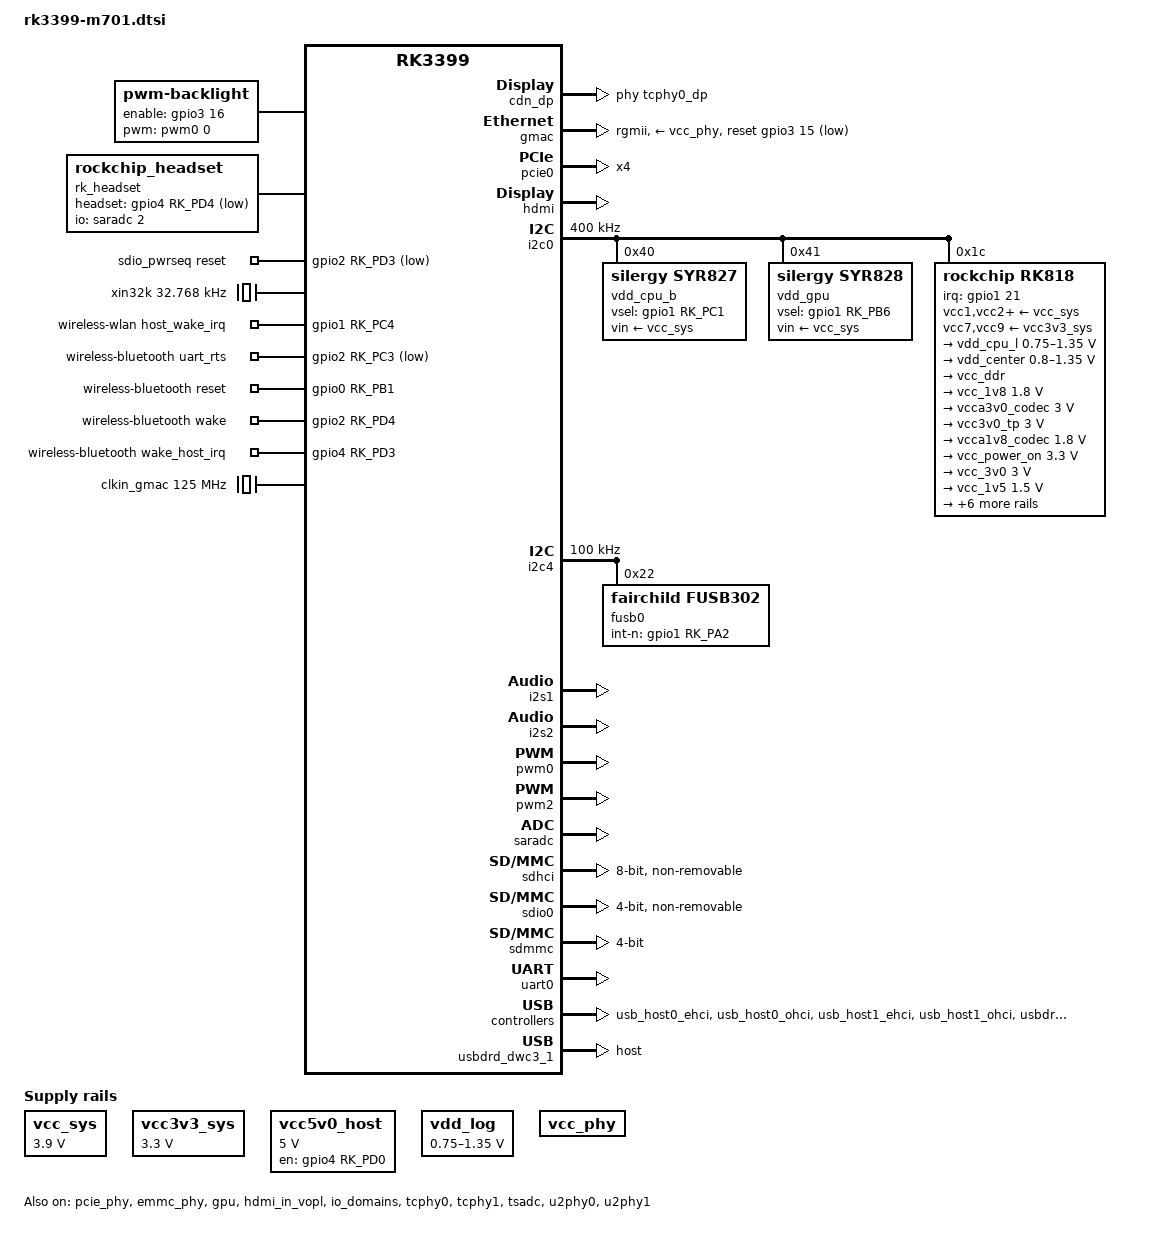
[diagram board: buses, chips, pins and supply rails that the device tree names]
/*
 * Copyright (c) 2018 Fuzhou Rockchip Electronics Co., Ltd
 *
 * SPDX-License-Identifier: (GPL-2.0+ OR MIT)
 */

/dts-v1/;
#include <dt-bindings/pwm/pwm.h>
#include <dt-bindings/sensor-dev.h>
#include "rk3399.dtsi"
#include "rk3399-android.dtsi"
#include "rk3399-opp.dtsi"
#include "rk3399-vop-clk-set.dtsi"
//#include "screen-timing/panel-edp1920x1080.dtsi"
#include "screen-timing/panel-toshiba-duallvds-1920x1080.dtsi"

/ {
	backlight: backlight {
		compatible = "pwm-backlight";
		pwms = <&pwm0 0 25000 0>;
		brightness-levels = <
			  0  20  20  21  21  22  22  23
			 23  24  24  25  25  26  26  27
			 27  28  28  29  29  30  30  31
			 31  32  32  33  33  34  34  35
			 35  36  36  37  37  38  38  39
			 40  41  42  43  44  45  46  47
			 48  49  50  51  52  53  54  55
			 56  57  58  59  60  61  62  63
			 64  65  66  67  68  69  70  71
			 72  73  74  75  76  77  78  79
			 80  81  82  83  84  85  86  87
			 88  89  90  91  92  93  94  95
			 96  97  98  99 100 101 102 103
			104 105 106 107 108 109 110 111
			112 113 114 115 116 117 118 119
			120 121 122 123 124 125 126 127
			128 129 130 131 132 133 134 135
			136 137 138 139 140 141 142 143
			144 145 146 147 148 149 150 151
			152 153 154 155 156 157 158 159
			160 161 162 163 164 165 166 167
			168 169 170 171 172 173 174 175
			176 177 178 179 180 181 182 183
			184 185 186 187 188 189 190 191
			192 193 194 195 196 197 198 199
			200 201 202 203 204 205 206 207
			208 209 210 211 212 213 214 215
			216 217 218 219 220 221 222 223
			224 225 226 227 228 229 230 231
			232 233 234 235 236 237 238 239
			240 241 242 243 244 245 246 247
			248 249 250 251 252 253 254 255
		>;
		default-brightness-level = <128>;
		enable-gpios = <&gpio3 16 GPIO_ACTIVE_HIGH>;
	};

	rk_headset {
		compatible = "rockchip_headset";
		headset_gpio = <&gpio4 RK_PD4 GPIO_ACTIVE_LOW>;
		pinctrl-names = "default";
		pinctrl-0 = <&hp_det>;
		io-channels = <&saradc 2>;
	};

	sdio_pwrseq: sdio-pwrseq {
		compatible = "mmc-pwrseq-simple";
		clocks = <&rk818 1>;
		clock-names = "ext_clock";
		pinctrl-names = "default";
		pinctrl-0 = <&wifi_enable_h>;

		/*
		 * On the module itself this is one of these (depending
		 * on the actual card populated):
		 * - SDIO_RESET_L_WL_REG_ON
		 * - PDN (power down when low)
		 */
		reset-gpios = <&gpio2 RK_PD3 GPIO_ACTIVE_LOW>;
	};

	vcc_sys: vcc-sys {
		compatible = "regulator-fixed";
		regulator-name = "vcc_sys";
		regulator-always-on;
		regulator-boot-on;
		regulator-min-microvolt = <3900000>;
		regulator-max-microvolt = <3900000>;
	};

	vcc3v3_sys: vcc3v3-sys {
		compatible = "regulator-fixed";
		regulator-name = "vcc3v3_sys";
		regulator-always-on;
		regulator-boot-on;
		regulator-min-microvolt = <3300000>;
		regulator-max-microvolt = <3300000>;
	};

	vcc5v0_host: vcc5v0-host-regulator {
		compatible = "regulator-fixed";
		gpio = <&gpio4 RK_PD0 GPIO_ACTIVE_LOW>;
		pinctrl-names = "default";
		pinctrl-0 = <&host_vbus_drv>;
		regulator-name = "vcc5v0_host";
		regulator-min-microvolt = <5000000>;
		regulator-max-microvolt = <5000000>;
		regulator-always-on;
		enable-active-high;
	};

	vdd_log: vdd-log {
		compatible = "pwm-regulator";
		pwms = <&pwm2 0 25000 1>;
		rockchip,pwm_id= <2>;
		rockchip,pwm_voltage = <900000>;
		regulator-name = "vdd_log";
		regulator-min-microvolt = <750000>;
		regulator-max-microvolt = <1350000>;
		regulator-always-on;
		regulator-boot-on;
	};

	vcc_phy: vcc-phy-regulator {
                compatible = "regulator-fixed";
                regulator-name = "vcc_phy";
                regulator-always-on;
                regulator-boot-on;
        };

	xin32k: xin32k {
		compatible = "fixed-clock";
		clock-frequency = <32768>;
		clock-output-names = "xin32k";
		#clock-cells = <0>;
	};

	wireless-wlan {
		compatible = "wlan-platdata";
		rockchip,grf = <&grf>;
		wifi_chip_type = "ap6255";
		sdio_vref = <1800>;
		WIFI,host_wake_irq = <&gpio1 RK_PC4 GPIO_ACTIVE_HIGH>;
		status = "okay";
	};

	wireless-bluetooth {
		compatible = "bluetooth-platdata";
		clocks = <&rk818 1>;
		clock-names = "ext_clock";
		uart_rts_gpios = <&gpio2 RK_PC3 GPIO_ACTIVE_LOW>;
		pinctrl-names = "default", "rts_gpio";
		pinctrl-0 = <&uart0_rts>;
		pinctrl-1 = <&uart0_gpios>;
		BT,reset_gpio    = <&gpio0 RK_PB1 GPIO_ACTIVE_HIGH>;
		BT,wake_gpio     = <&gpio2 RK_PD4 GPIO_ACTIVE_HIGH>;
		BT,wake_host_irq = <&gpio4 RK_PD3 GPIO_ACTIVE_HIGH>;
		status = "okay";
	};

	clkin_gmac: external-gmac-clock {
                compatible = "fixed-clock";
                clock-frequency = <125000000>;
                clock-output-names = "clkin_gmac";
                #clock-cells = <0>;
        };
};

&cdn_dp {
	status = "okay";
	extcon = <&fusb0>;
	phys = <&tcphy0_dp>;
};

&cpu_l0 {
	cpu-supply = <&vdd_cpu_l>;
};

&cpu_l1 {
	cpu-supply = <&vdd_cpu_l>;
};

&cpu_l2 {
	cpu-supply = <&vdd_cpu_l>;
};

&cpu_l3 {
	cpu-supply = <&vdd_cpu_l>;
};

&cpu_b0 {
	cpu-supply = <&vdd_cpu_b>;
};

&cpu_b1 {
	cpu-supply = <&vdd_cpu_b>;
};

&gmac {
        phy-supply = <&vcc_phy>;
        phy-mode = "rgmii";
        clock_in_out = "input";
        snps,reset-gpio = <&gpio3 15 GPIO_ACTIVE_LOW>;
        snps,reset-active-low;
        snps,reset-delays-us = <0 10000 50000>;
        assigned-clocks = <&cru SCLK_RMII_SRC>;
        assigned-clock-parents = <&clkin_gmac>;
        pinctrl-names = "default";
        pinctrl-0 = <&rgmii_pins>;
        tx_delay = <0x28>;
        rx_delay = <0x11>;
        status = "okay";
};

&pcie_phy {
        status = "okay";
};

&pcie0 {
        ep-gpios = <&gpio3 RK_PB2 GPIO_ACTIVE_HIGH>;
        num-lanes = <4>;
        pinctrl-names = "default";
        pinctrl-0 = <&pcie_clkreqn>;
        status = "okay";
};

&dp_in_vopb {
	status = "disabled";
};

&emmc_phy {
	status = "okay";
};

&gpu {
	status = "okay";
	mali-supply = <&vdd_gpu>;
};

&hdmi {
	status = "okay";
};


&hdmi_in_vopb {
	status = "disabled";
};

&hdmi_in_vopl {
        status = "okay";
};

&i2c0 {
	status = "okay";
	i2c-scl-rising-time-ns = <180>;
	i2c-scl-falling-time-ns = <30>;
	clock-frequency = <400000>;

	vdd_cpu_b: syr837@40 {
		compatible = "silergy,syr827";
		reg = <0x40>;
		vin-supply = <&vcc_sys>;
		regulator-compatible = "fan53555-reg";
		pinctrl-0 = <&vsel1_gpio>;
		vsel-gpios = <&gpio1 RK_PC1 GPIO_ACTIVE_HIGH>;
		regulator-name = "vdd_cpu_b";
		regulator-min-microvolt = <712500>;
		regulator-max-microvolt = <1500000>;
		regulator-ramp-delay = <1000>;
		fcs,suspend-voltage-selector = <1>;
		regulator-always-on;
		regulator-initial-state = <3>;
		regulator-state-mem {
			regulator-off-in-suspend;
		};
	};

	vdd_gpu: syr828@41 {
		compatible = "silergy,syr828";
		status = "okay";
		reg = <0x41>;
		vin-supply = <&vcc_sys>;
		regulator-compatible = "fan53555-reg";
		pinctrl-0 = <&vsel2_gpio>;
		vsel-gpios = <&gpio1 RK_PB6 GPIO_ACTIVE_HIGH>;
		regulator-name = "vdd_gpu";
		regulator-min-microvolt = <735000>;
		regulator-max-microvolt = <1400000>;
		regulator-ramp-delay = <1000>;
		fcs,suspend-voltage-selector = <1>;
		regulator-always-on;
		regulator-boot-on;
		regulator-state-mem {
			regulator-off-in-suspend;
		};
	};

rk818: pmic@1c {
		compatible = "rockchip,rk818";
		status = "okay";
		reg = <0x1c>;
		clock-output-names = "rk818-clkout1", "wifibt_32kin";
		interrupt-parent = <&gpio1>;
		interrupts = <21 IRQ_TYPE_LEVEL_LOW>;
		pinctrl-names = "default";
		pinctrl-0 = <&pmic_int_l>;
		rockchip,system-power-controller;
		rk818,support_dc_chg = <0>;/*1: dc chg; 0:usb chg*/
		wakeup-source;
		extcon = <&fusb0>;
		#clock-cells = <1>;

		vcc1-supply = <&vcc_sys>;
		vcc2-supply = <&vcc_sys>;
		vcc3-supply = <&vcc_sys>;
		vcc4-supply = <&vcc_sys>;
		vcc6-supply = <&vcc_sys>;
		vcc7-supply = <&vcc3v3_sys>;
		vcc8-supply = <&vcc_sys>;
		vcc9-supply = <&vcc3v3_sys>;

		regulators {
			vdd_cpu_l: DCDC_REG1 {
				regulator-name = "vdd_cpu_l";
				regulator-always-on;
				regulator-boot-on;
				regulator-min-microvolt = <750000>;
				regulator-max-microvolt = <1350000>;
				regulator-ramp-delay = <6001>;
				regulator-state-mem {
					regulator-off-in-suspend;
				};
			};

			vdd_center: DCDC_REG2 {
				regulator-name = "vdd_center";
				regulator-always-on;
				regulator-boot-on;
				regulator-min-microvolt = <800000>;
				regulator-max-microvolt = <1350000>;
				regulator-ramp-delay = <6001>;
				regulator-state-mem {
					regulator-off-in-suspend;
				};
			};

			vcc_ddr: DCDC_REG3 {
				regulator-name = "vcc_ddr";
				regulator-always-on;
				regulator-boot-on;
				regulator-state-mem {
					regulator-on-in-suspend;
				};
			};

			vcc_1v8: DCDC_REG4 {
				regulator-name = "vcc_1v8";
				regulator-always-on;
				regulator-boot-on;
				regulator-min-microvolt = <1800000>;
				regulator-max-microvolt = <1800000>;
				regulator-state-mem {
					regulator-on-in-suspend;
					regulator-suspend-microvolt = <1800000>;
				};
			};

			vcca3v0_codec: LDO_REG1 {
				regulator-always-on;
				regulator-boot-on;
				regulator-min-microvolt = <3000000>;
				regulator-max-microvolt = <3000000>;
				regulator-name = "vcca3v0_codec";
				regulator-state-mem {
					regulator-on-in-suspend;
					regulator-suspend-microvolt = <3000000>;
				};
			};

			vcc3v0_tp: LDO_REG2 {
				regulator-always-on;
				regulator-boot-on;
				regulator-min-microvolt = <3000000>;
				regulator-max-microvolt = <3000000>;
				regulator-name = "vcc3v0_tp";
				regulator-state-mem {
					regulator-on-in-suspend;
					regulator-suspend-microvolt = <3000000>;
				};
			};

			vcca1v8_codec: LDO_REG3 {
				regulator-always-on;
				regulator-boot-on;
				regulator-min-microvolt = <1800000>;
				regulator-max-microvolt = <1800000>;
				regulator-name = "vcca1v8_codec";
				regulator-state-mem {
					regulator-on-in-suspend;
					regulator-suspend-microvolt = <1800000>;
				};
			};

			vcc_power_on: LDO_REG4 {
				regulator-always-on;
				regulator-boot-on;
				regulator-min-microvolt = <3300000>;
				regulator-max-microvolt = <3300000>;
				regulator-name = "vcc_power_on";
				regulator-state-mem {
					regulator-on-in-suspend;
					regulator-suspend-microvolt = <3300000>;
				};
			};

			vcc_3v0: LDO_REG5 {
				regulator-always-on;
				regulator-boot-on;
				regulator-min-microvolt = <3000000>;
				regulator-max-microvolt = <3000000>;
				regulator-name = "vcc_3v0";
				regulator-state-mem {
					regulator-on-in-suspend;
					regulator-suspend-microvolt = <3000000>;
				};
			};

			vcc_1v5: LDO_REG6 {
				regulator-always-on;
				regulator-boot-on;
				regulator-min-microvolt = <1500000>;
				regulator-max-microvolt = <1500000>;
				regulator-name = "vcc_1v5";
				regulator-state-mem {
					regulator-on-in-suspend;
					regulator-suspend-microvolt = <1500000>;
				};
			};

			vcc1v8_dvp: LDO_REG7 {
				regulator-always-on;
				regulator-boot-on;
				regulator-min-microvolt = <1800000>;
				regulator-max-microvolt = <1800000>;
				regulator-name = "vcc1v8_dvp";
				regulator-state-mem {
					regulator-on-in-suspend;
					regulator-suspend-microvolt = <1800000>;
				};
			};

			vcc3v3_s3: LDO_REG8 {
				regulator-always-on;
				regulator-boot-on;
				regulator-min-microvolt = <3300000>;
				regulator-max-microvolt = <3300000>;
				regulator-name = "vcc3v3_s3";
				regulator-state-mem {
					regulator-on-in-suspend;
					regulator-suspend-microvolt = <3300000>;
				};
			};

			vcc_sd: LDO_REG9 {
				regulator-always-on;
				regulator-boot-on;
				regulator-min-microvolt = <1800000>;
				regulator-max-microvolt = <3000000>;
				regulator-name = "vcc_sd";
				regulator-state-mem {
					regulator-on-in-suspend;
					regulator-suspend-microvolt = <3000000>;
				};
			};

			vcc3v3_s0: SWITCH_REG {
				regulator-always-on;
				regulator-boot-on;
				regulator-name = "vcc3v3_s0";
				regulator-state-mem {
					regulator-on-in-suspend;
				};
			};

			boost_otg: DCDC_BOOST {
				regulator-name = "boost_otg";
				regulator-always-on;
				regulator-boot-on;
				regulator-min-microvolt = <5000000>;
				regulator-max-microvolt = <5000000>;
				regulator-state-mem {
					regulator-on-in-suspend;
					regulator-suspend-microvolt = <5000000>;
				};
			};

			otg_switch: OTG_SWITCH {
				regulator-name = "otg_switch";
			};
		};

		battery {
			compatible = "rk818-battery";
			ocv_table = <3400 3647 3681 3697 3724 3740 3755 3771 3784 3797 3812 3830 3852 3882 3931 3967 3994 4050 4085 4130 4178 >;
			design_capacity = <8744>;
			design_qmax = <9500>;
			bat_res = <30>;
			max_input_current = <3000>;
			max_chrg_current = <3000>;
			max_chrg_voltage = <4350>;
			sleep_enter_current = <300>;
			sleep_exit_current = <300>;
			power_off_thresd = <3200>;
			zero_algorithm_vol = <3950>;
			fb_temperature = <105>;
			sample_res = <10>;
			max_soc_offset = <60>;
			energy_mode = <0>;
			monitor_sec = <5>;
			virtual_power = <0>;
			power_dc2otg = <0>;
			pinctrl-names = "default";
                	pinctrl-0 = <&chg_red>;
                	pinctrl-1 = <&chg_green>;
                	chg_red_gpio = <&gpio0 8 GPIO_ACTIVE_LOW>;
                	chg_green_gpio = <&gpio0 13 GPIO_ACTIVE_LOW>;
			sys-bat = <&gpio0 6 GPIO_ACTIVE_HIGH>;
		};
	};
};

&i2c4 {
	status = "okay";
	i2c-scl-rising-time-ns = <345>;
	i2c-scl-falling-time-ns = <11>;
	clock-frequency = <100000>;

	fusb0: fusb30x@22 {
		compatible = "fairchild,fusb302";
		reg = <0x22>;
		pinctrl-names = "default";
		pinctrl-0 = <&fusb0_int>;
		//vbus-5v-gpios = <&gpio0 RK_PA6 GPIO_ACTIVE_HIGH>;
		int-n-gpios = <&gpio1 RK_PA2 GPIO_ACTIVE_HIGH>;
		//discharge-gpios = <&gpio0 RK_PB4 GPIO_ACTIVE_HIGH>;
		//charge-dev = <&bq25700>;
		//support-uboot-charge = <1>;
		//port-num = <0>;
		status = "okay";
	};
};

&i2s1 {
	status = "okay";
	rockchip,i2s-broken-burst-len;
	rockchip,playback-channels = <8>;
	rockchip,capture-channels = <8>;
	#sound-dai-cells = <0>;
};
&i2s2 {
	#sound-dai-cells = <0>;
	status = "okay";
};

&io_domains {
	status = "okay";
	bt656-supply = <&vcc1v8_dvp>;
	audio-supply = <&vcca1v8_codec>;
	sdmmc-supply = <&vcc_sd>;
	gpio1830-supply = <&vcc_3v0>;
};

&isp0_mmu {
	status = "okay";
};

&isp1_mmu {
	status = "okay";
};

&pinctrl {

	charger {
		charger_ok: charge-ok {
			rockchip,pins =
				<1 RK_PC7 RK_FUNC_GPIO &pcfg_pull_up>;
		};
	};

	fusb30x {
		fusb0_int: fusb0-int {
			rockchip,pins =
				<1 RK_PA2 RK_FUNC_GPIO &pcfg_pull_up>,
				<0 RK_PA6 RK_FUNC_GPIO &pcfg_pull_up>;
			};
	};

	headphone {
		hp_det: hp-det {
			rockchip,pins = <4 RK_PD4 RK_FUNC_GPIO &pcfg_pull_up>;
		};
	};

	kxtj2 {
		kxtj2_irq_gpio: kxtj2-irq-gpio {
			rockchip,pins = <1 RK_PC6 RK_FUNC_GPIO &pcfg_pull_none>;
		};
	};

	lcd_rst {
		lcd_rst_gpio: lcd-rst-gpio {
			rockchip,pins = <4 29 RK_FUNC_GPIO &pcfg_pull_up_20ma>;
		};
		lcd_ena_gpio: lcd-ena-gpio {
			rockchip,pins = <2 27 RK_FUNC_GPIO &pcfg_pull_none>;
		};
	};

	pmic {
		pmic_int_l: pmic-int-l {
			rockchip,pins =
				<1 RK_PC5 RK_FUNC_GPIO &pcfg_pull_up>;
		};
		vsel1_gpio: vsel1-gpio {
			rockchip,pins =
				<1 RK_PC1 RK_FUNC_GPIO &pcfg_pull_down>;
		};
		vsel2_gpio: vsel2-gpio {
			rockchip,pins =
				<1 RK_PB6 RK_FUNC_GPIO &pcfg_pull_down>;
		};
	};

	sdio-pwrseq {
		wifi_enable_h: wifi-enable-h {
			rockchip,pins = <2 RK_PD3 RK_FUNC_GPIO &pcfg_pull_none>;
		};
	};

	tp_irq {
		tp_irq_gpio: tp-irq-gpio {
			rockchip,pins = <4 22 RK_FUNC_GPIO &pcfg_pull_up>;
		};


		tp_rst_gpio: tp-rst-gpio {
			rockchip,pins = <4 21 RK_FUNC_GPIO &pcfg_pull_up>;
		};
	};

	usb2 {
		host_vbus_drv: host-vbus-drv {
			rockchip,pins =
				<4 RK_PD0 RK_FUNC_GPIO &pcfg_pull_none>;
		};
	};

	wireless-bluetooth {
		uart0_gpios: uart0-gpios {
			rockchip,pins = <2 RK_PC3 RK_FUNC_GPIO &pcfg_pull_none>;
		};
	};
};

&pmu_io_domains {
	status = "okay";
	pmu1830-supply = <&vcc_1v8>;
};

&pwm0 {
	status = "okay";
};

&pwm2 {
	status = "okay";
};

&rockchip_suspend {
	status = "okay";
	rockchip,sleep-debug-en = <1>;
	rockchip,sleep-mode-config = <
		(0
		| RKPM_SLP_ARMPD
		| RKPM_SLP_PERILPPD
		| RKPM_SLP_DDR_RET
		| RKPM_SLP_PLLPD
		| RKPM_SLP_CENTER_PD
		| RKPM_SLP_OSC_DIS
		| RKPM_SLP_AP_PWROFF
		)
	>;
	rockchip,wakeup-config = <
		(0
		| RKPM_GPIO_WKUP_EN
		)
	>;
	rockchip,pwm-regulator-config = <
		(0
		| PWM2_REGULATOR_EN
		)
	>;
	rockchip,power-ctrl =
		<&gpio1 RK_PC1 GPIO_ACTIVE_HIGH>,
		<&gpio1 RK_PB6 GPIO_ACTIVE_HIGH>;
};

&saradc {
	status = "okay";
};

&sdhci {
	bus-width = <8>;
	mmc-hs400-1_8v;
	supports-emmc;
	non-removable;
	keep-power-in-suspend;
	mmc-hs400-enhanced-strobe;
	status = "okay";
};

&sdio0 {
        clock-frequency = <150000000>;
        clock-freq-min-max = <200000 150000000>;
        supports-sdio;
        bus-width = <4>;
        disable-wp;
        cap-sd-highspeed;
        cap-sdio-irq;
        keep-power-in-suspend;
        mmc-pwrseq = <&sdio_pwrseq>;
        non-removable;
        num-slots = <1>;
        pinctrl-names = "default";
        pinctrl-0 = <&sdio0_bus4 &sdio0_cmd &sdio0_clk>;
        sd-uhs-sdr104;
        status = "okay";
};

&sdmmc {
	clock-frequency = <150000000>;
        clock-freq-min-max = <400000 150000000>;
        supports-sd;
        bus-width = <4>;
        cap-mmc-highspeed;
        cap-sd-highspeed;
        disable-wp;
        num-slots = <1>;
        //sd-uhs-sdr104;
        vqmmc-supply = <&vcc_sd>;
        pinctrl-names = "default";
        pinctrl-0 = <&sdmmc_clk &sdmmc_cmd &sdmmc_cd &sdmmc_bus4>;
        card-detect-delay = <1000>;
	status = "okay";
};

&tcphy0 {
	extcon = <&fusb0>;
	status = "okay";
};

&tcphy1 {
	status = "okay";
};

&tsadc {
	rockchip,hw-tshut-mode = <1>; /* tshut mode 0:CRU 1:GPIO */
	rockchip,hw-tshut-polarity = <1>; /* tshut polarity 0:LOW 1:HIGH */
	status = "okay";
};

&u2phy0 {
	status = "okay";
	extcon = <&fusb0>;

	u2phy0_otg: otg-port {
		status = "okay";
	};

	u2phy0_host: host-port {
		phy-supply = <&vcc5v0_host>;
		status = "okay";
	};
};

&u2phy1 {
	status = "okay";

	u2phy1_otg: otg-port {
		status = "okay";
	};

	u2phy1_host: host-port {
		phy-supply = <&vcc5v0_host>;
		status = "okay";
	};
};

&uart0 {
	pinctrl-names = "default";
	pinctrl-0 = <&uart0_xfer &uart0_cts>;
	status = "okay";
};

&usb_host0_ehci {
	status = "okay";
};

&usb_host0_ohci {
	status = "okay";
};

&usb_host1_ehci {
	status = "okay";
};

&usb_host1_ohci {
	status = "okay";
};

&usbdrd3_0 {
	extcon = <&fusb0>;
	status = "okay";
};

&usbdrd_dwc3_0 {
	status = "okay";
};

&usbdrd3_1 {
	status = "okay";
};

&usbdrd_dwc3_1 {
	dr_mode = "host";
	status = "okay";
};

&vopb {
	assigned-clocks = <&cru DCLK_VOP0_DIV>;
	assigned-clock-parents = <&cru PLL_CPLL>;
};

&vopl {
	assigned-clocks = <&cru DCLK_VOP1_DIV>;
	assigned-clock-parents = <&cru PLL_VPLL>;
};
